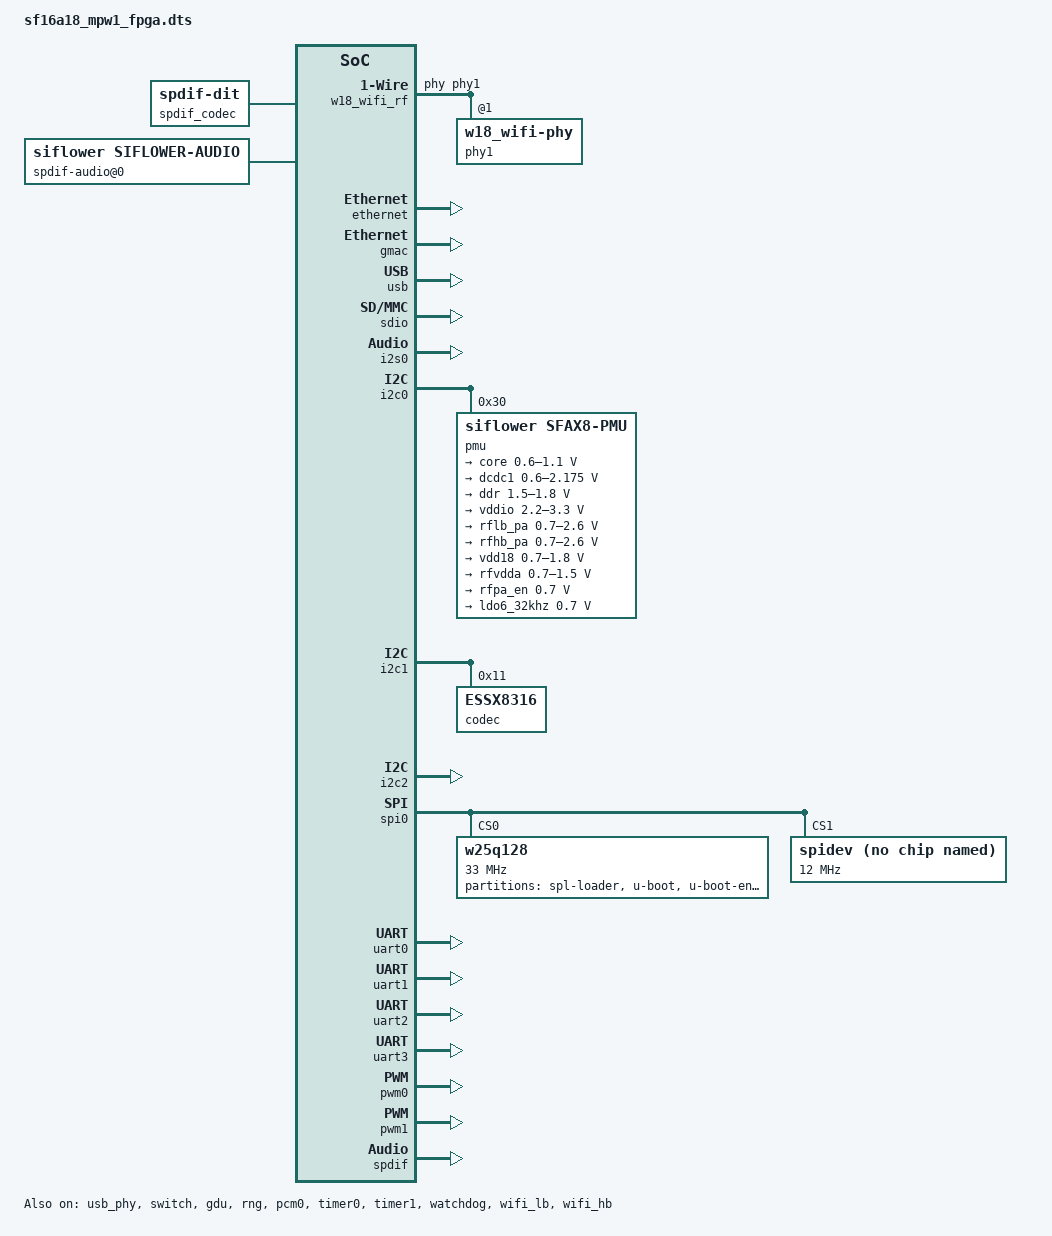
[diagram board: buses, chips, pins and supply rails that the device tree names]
/dts-v1/;

#include "sf16a18_mpw1_fpga.dtsi"


/ {
	#address-cells = <1>;
	#size-cells = <1>;
	compatible = "siflower,sf16a18-soc";

	spdif_codec: spdif-codec@0 {
		compatible = "linux,spdif-dit";
	};

	w18_wifi_rf: w18_wifi-rf@7A00000{
		compatible = "siflower,pistachio-uccp";
		phy = <&phy1>;
		#address-cells = <1>;
		#size-cells = <0>;
		phy1: w18_wifi-phy@1 {
			reg = <1>;
			max-speed = <100>;
		};
	};

	spdif-audio@0 {
		compatible = "siflower,siflower-audio";
		model = "Siflower Spdif Audio";
		audio-controller = <&spdif>;
		audio-codec = <&spdif_codec>;
		audio-out;
	};
};

&usb_phy{
	status = "okay";
};

&ethernet {
	status = "okay";
};

&switch{
	status = "okay";
};

&gmac {
	status = "okay";
};

&gdu {
	status = "okay";
	num-windows = <2>;
	rgb_order = <0 1 2>;

	display-timings {
		native-mode = <&timing0>;
		timing0: gm05004001q {
			clock-frequency = <34539600>;
			hactive = <800>;
			vactive = <480>;
			hback-porch = <46>;
			hfront-porch = <210>;
			vback-porch = <23>;
			vfront-porch = <22>;
			hsync-len = <20>;
			vsync-len = <10>;
		};
	};
};

&rng {
	status = "okay";
};

&gdma {
	status = "okay";
};

&usb {
	status = "okay";
};

&emmc {
	status = "disabled";
};

&sdio {
	status = "okay";
};

&i2s0 {
	status = "okay";
};

&i2c0 {
	status = "okay";
	#address-cells = <1>;
	#size-cells = <0>;
	pmu@30 {
		compatible = "siflower, sfax8-pmu";
		reg = <0x30>;

		/*
		IR device
		miscdev {
			interrupts = <249 0>;
		};
		*/

        reset-button {
			rb-gpio = <&gpio 60 0>;
			led-gpio = <&gpio 57 0>;
			};

		power-management {
			dcdc0-supply = <&core>;
			dcdc0-maxv = <1100000>;

			dcdc1-supply = <&dcdc1>;
			dcdc1-maxv = <2100000>;

			dcdc2-supply = <&ddr>;
			dcdc2-maxv = <1800000>;

			dcdc3-supply = <&vddio>;
			dcdc3-maxv = <3300000>;

			ldo0-supply = <&rflb_pa>;
			ldo0-maxv = <2600000>;

			ldo1-supply = <&rfhb_pa>;
			ldo1-maxv = <2600000>;

			ldo2-supply = <&vdd18>;
			ldo2-maxv = <1800000>;

			ldo4-supply = <&rfvdda>;
			ldo4-maxv = <1500000>;

			ldo5-supply = <&rfpa_en>;
			ldo5-maxv = <700000>;

			ldo6-supply = <&ldo6_32khz>;
			ldo6-maxv = <700000>;

		};

		regulators {
			core: dcdc0 {
				regulator-name = "VDD_CORE_0.9V";
				regulator-min-microvolt = <600000>;
				regulator-max-microvolt = <1100000>;
				regulator-min-microamp = <3000000>;
				regulator-max-microamp = <3000000>;
				regulator-always-on;
				regulator-boot-on;
			};

			dcdc1: dcdc1 {
				regulator-name = "DCDC1";
				regulator-min-microvolt = <600000>;
				regulator-max-microvolt = <2175000>;
				regulator-min-microamp = <3000000>;
				regulator-max-microamp = <3000000>;
				regulator-always-on;
				regulator-boot-on;
			};

			ddr: dcdc2 {
				regulator-name = "DDR_1.5-1.8V";
				regulator-min-microvolt = <1500000>;
				regulator-max-microvolt = <1800000>;
				regulator-min-microamp = <3000000>;
				regulator-max-microamp = <3000000>;
				regulator-always-on;
				regulator-boot-on;
			};

			vddio: dcdc3 {
				regulator-name = "VDDIO_3.3V";
				regulator-min-microvolt = <2200000>;
				regulator-max-microvolt = <3300000>;
				regulator-min-microamp = <2000000>;
				regulator-max-microamp = <2000000>;
				regulator-always-on;
				regulator-boot-on;
			};

			rflb_pa: ldo0 {
				regulator-name = "RFLB_PA_2.6V";
				regulator-min-microvolt = <700000>;
				regulator-max-microvolt = <2600000>;
				regulator-min-microamp = <400000>;
				regulator-max-microamp = <400000>;
				regulator-always-on;
				regulator-boot-on;
			};

			rfhb_pa: ldo1 {
				regulator-name = "RFHB_PA_2.6V";
				regulator-min-microvolt = <700000>;
				regulator-max-microvolt = <2600000>;
				regulator-min-microamp = <400000>;
				regulator-max-microamp = <400000>;
				regulator-always-on;
				regulator-boot-on;
			};

			vdd18: ldo2 {
				regulator-name = "VDD18_1.8V";
				regulator-min-microvolt = <700000>;
				regulator-max-microvolt = <1800000>;
				regulator-min-microamp = <400000>;
				regulator-max-microamp = <400000>;
				regulator-always-on;
				regulator-boot-on;
			};

			rfvdda: ldo4 {
				regulator-name = "RF_VDDA_1.5V";
				regulator-min-microvolt = <700000>;
				regulator-max-microvolt = <1500000>;
				regulator-min-microamp = <200000>;
				regulator-max-microamp = <200000>;
				regulator-always-on;
				regulator-boot-on;
			};

			rfpa_en: ldo5 {
				regulator-name = "RFPA_EN";
				regulator-min-microvolt = <700000>;
				regulator-max-microvolt = <700000>;
				regulator-min-microamp = <200000>;
				regulator-max-microamp = <200000>;
				regulator-always-on;
				regulator-boot-on;
			};

			ldo6_32khz: ldo6 {
				regulator-name = "LDO6";
				regulator-min-microvolt = <700000>;
				regulator-max-microvolt = <700000>;
				regulator-min-microamp = <200000>;
				regulator-max-microamp = <200000>;
				regulator-always-on;
				regulator-boot-on;
			};

			/*
			svcc {
				regulator-name = "SVCC";
				regulator-min-microvolt = <2600000>;
				regulator-max-microvolt = <2600000>;
				regulator-max-microvolt = <3300000>;
				regulator-min-microamp = <50000>;
				regulator-max-microamp = <50000>;
				regulator-always-on;
				regulator-boot-on;
			};
			*/
		};
	};
};

&i2c1 {
	status = "okay";
	#address-cells = <1>;
	#size-cells = <0>;
/*
	codec: es8388s@11{
		compatible = "ambarella,es8388s";
		reg = <0x11>;
	};
*/
	codec: es8316@11{
		compatible = "ESSX8316";
		reg = <0x11>;
	};
};

&i2c2 {
	status = "okay";
};

&spi0 {
	status = "okay";
	use-dma;
	dmas = <&gdma 10
	&gdma 11>;
	dma-names = "tx", "rx";

	#address-cells = <1>;
	#size-cells = <0>;

	w25q128@0 {
		compatible = "w25q128";
		reg = <0>;	/* chip select */
		spi-max-frequency = <33000000>;

		bank-width = <2>;
		device-width = <2>;
		#address-cells = <1>;
		#size-cells = <1>;

		partition@0 {
			label = "spl-loader";
			reg = <0x0 0x20000>; /* 128k */
			read-only;
		};

		partition@20000 {
			label = "u-boot";
			reg = <0x20000 0x60000>; /* 384k */
		};

		partition@80000 {
			label = "u-boot-env";
			reg = <0x80000 0x10000>; /* 64k */
		};

		factory:partition@90000 {
			label = "factory";
			reg = <0x90000 0x10000>; /* 64k */
		};

		partition@a0000 {
			label = "firmware";
			reg = <0xa0000 0xf60000>; /* 640k-16M */
		};
	};

	spidev: spi@8200000 {
		compatible = "rohm,dh2228fv";
		reg = <1>;
		clock = <50000000>;
		spi-cpha;
		spi-cpol;
		spi-max-frequency=<12000000>;
	};
};


&uart0 {
	status = "okay";
};

&uart1 {
	status = "okay";
};

&uart2 {
	status = "okay";
};

&uart3 {
	status = "okay";
};

&pcm0 {
	status = "okay";
};

&pwm0 {
	status = "okay";
};

&pwm1 {
	status = "okay";
};


&timer0 {
	status = "okay";
};

&timer1 {
	status = "okay";
};


&watchdog {
	status = "okay";
};

&spdif
{
	status = "okay";
};

&wifi_rf {
	status = "disabled";
};

&wifi_lb {
	status = "okay";
};

&wifi_hb {
	status = "okay";
};
